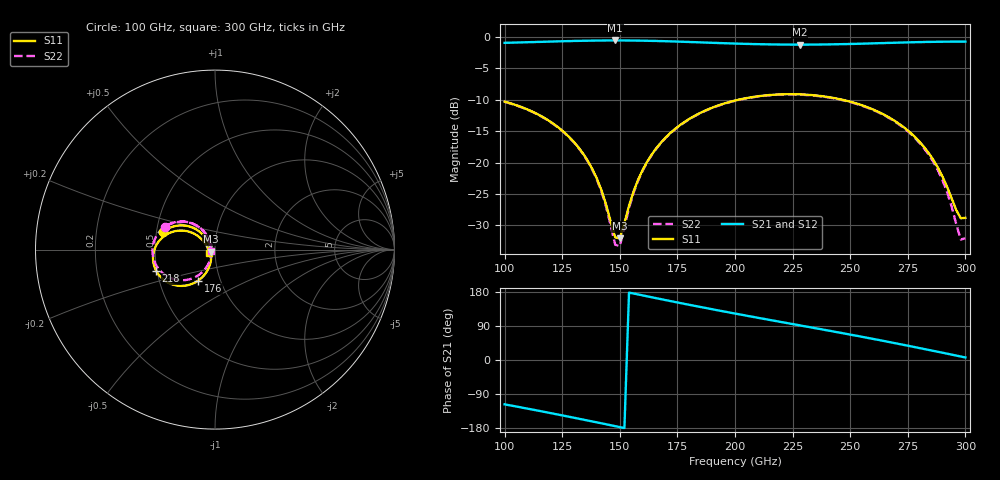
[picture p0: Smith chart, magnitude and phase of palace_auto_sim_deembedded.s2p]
! Created with skrf 1.11.0 (http://scikit-rf.org).
# GHz S DB R 50.0
!freq dBS11 angS11 dBS21 angS21 dBS12 angS12 dBS22 angS22
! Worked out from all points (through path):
!   101 points, 100 GHz to 300 GHz, reference 50 ohm
!   highest |S21| = -0.53 dB at 148 GHz (marker M1); lowest = -1.2 dB at 228 GHz (marker M2)
!   group delay of S21, straight-line fit = 3.26 ps
!   lowest |S11| = -32.1 dB at 150 GHz (marker M3), VSWR 1.05, Z = 47.8 - j1.02 ohm
!   |S11| at or under -10 dB: start of sweep to 201.3 GHz; 246.7 GHz to end of sweep
!   |S22| runs from -33.3 to -9.1 dB; largest |S21 - S12| = 1.1e-14
!   S11 on the Smith chart (normalised r, x): 100 GHz: 0.54, +0.12; 176 GHz: 0.78, -0.28; 218 GHz: 0.49, -0.13; 300 GHz: 0.94, -0.03
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100  -10.29 161.1  -0.91 -117.0  -0.91 -117.0  -10.32 155.5
120  -13.52 140.9  -0.71 -140.1  -0.71 -140.1  -13.57 133.9
134  -18.55 129.7  -0.58 -157.1  -0.58 -157.1  -18.63 121.2
142  -24.38 131.7  -0.54 -167.1  -0.54 -167.1  -24.60 121.4
148  -31.94 171.3  -0.53 -174.6  -0.53 -174.6  -33.12 160.7
150  -32.12 -154.6  -0.53 -177.1  -0.53 -177.1  -33.35 -159.8
154  -26.91 -117.6  -0.54 177.9  -0.54 177.9  -27.26 -121.9
158  -22.70 -109.5  -0.56 172.9  -0.56 172.9  -22.85 -115.3
162  -19.79 -108.8  -0.58 167.9  -0.58 167.9  -19.88 -115.5
168  -16.76 -111.9  -0.63 160.4  -0.63 160.4  -16.83 -119.5
176  -14.07 -118.6  -0.72 150.7  -0.72 150.7  -14.12 -127.0
200  -10.11 -142.4  -1.02 122.6  -1.02 122.6  -10.16 -152.6
218  -9.16 -160.3  -1.17 102.5  -1.17 102.5  -9.21 -171.8
228  -9.12 -170.1  -1.19 91.5  -1.19 91.5  -9.18 177.7
234  -9.27 -176.0  -1.18 84.9  -1.18 84.9  -9.32 171.3
252  -10.50 166.5  -1.07 64.8  -1.07 64.8  -10.57 152.3
268  -13.05 151.6  -0.91 46.1  -0.91 46.1  -13.15 135.5
278  -15.89 143.9  -0.81 34.1  -0.81 34.1  -16.05 126.0
286  -19.54 141.5  -0.75 24.2  -0.75 24.2  -19.86 121.0
292  -23.83 148.1  -0.72 16.7  -0.72 16.7  -24.67 123.9
298  -28.90 -173.4  -0.71 9.2  -0.71 9.2  -32.28 166.3
300  -28.82 -150.6  -0.71 6.7  -0.71 6.7  -32.09 -159.1
